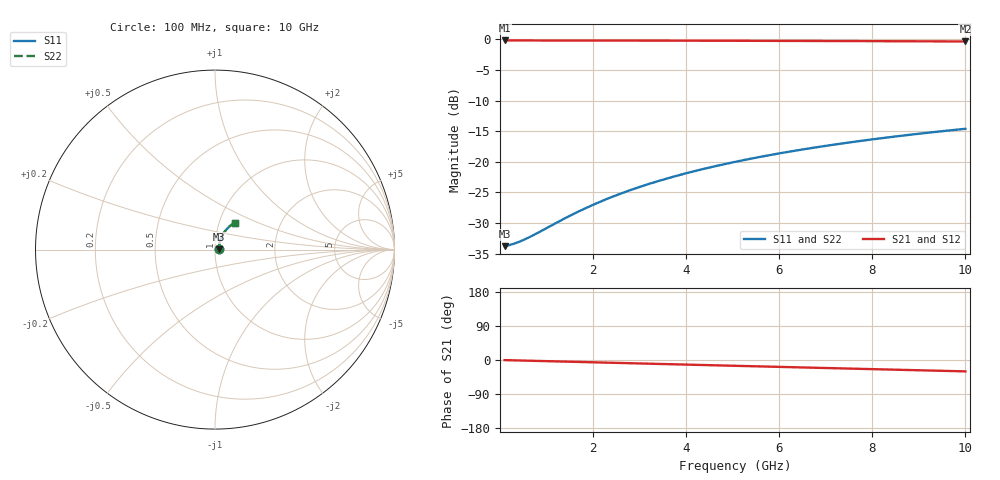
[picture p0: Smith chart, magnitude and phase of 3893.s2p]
# Hz S RI R 50.00
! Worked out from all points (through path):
!   100 points, 100 MHz to 10 GHz, reference 50 ohm
!   highest |S21| = -0.18 dB at 100 MHz (marker M1); lowest = -0.3 dB at 10 GHz (marker M2)
!   group delay of S21, straight-line fit = 8.35 ps
!   lowest |S11| = -33.8 dB at 100 MHz (marker M3), VSWR 1.04, Z = 52.1 + j0.193 ohm
!   |S11| at or under -10 dB: start of sweep to end of sweep
!   |S22| runs from -33.8 to -14.6 dB; largest |S21 - S12| = 0
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1e8  0.0204 0.00185  0.9796 -0.0052  0.9796 -0.0052  0.0204 0.00185
2e8  0.0205 0.00371  0.9795 -0.0104  0.9795 -0.0104  0.0205 0.00371
3e8  0.0207 0.00556  0.9793 -0.0156  0.9793 -0.0156  0.0207 0.00556
4e8  0.0208 0.0074  0.9791 -0.0208  0.9791 -0.0208  0.0208 0.0074
6e8  0.0211 0.0111  0.9786 -0.0311  0.9786 -0.0311  0.0211 0.0111
8e8  0.0215 0.0148  0.9781 -0.0415  0.9781 -0.0415  0.0215 0.0148
1.4e9  0.023 0.0258  0.9758 -0.0726  0.9758 -0.0726  0.023 0.0258
1.8e9  0.0244 0.033  0.9737 -0.0932  0.9737 -0.0932  0.0244 0.033
2.2e9  0.0261 0.0402  0.9711 -0.1137  0.9711 -0.1137  0.0261 0.0402
2.6e9  0.028 0.0473  0.9681 -0.1342  0.9681 -0.1342  0.028 0.0473
3e9  0.0303 0.0544  0.9645 -0.1546  0.9645 -0.1546  0.0303 0.0544
3.4e9  0.0329 0.0613  0.9605 -0.1748  0.9605 -0.1748  0.0329 0.0613
3.8e9  0.0357 0.0681  0.956 -0.1949  0.956 -0.1949  0.0357 0.0681
4.2e9  0.0388 0.0747  0.9511 -0.2149  0.9511 -0.2149  0.0388 0.0747
4.6e9  0.0422 0.0812  0.9457 -0.2347  0.9457 -0.2347  0.0422 0.0812
5.1e9  0.0468 0.0891  0.9383 -0.2592  0.9383 -0.2592  0.0468 0.0891
5.9e9  0.055 0.1012  0.9251 -0.2979  0.9251 -0.2979  0.055 0.1012
6.7e9  0.0642 0.1125  0.9102 -0.3357  0.9102 -0.3357  0.0642 0.1125
7.5e9  0.0743 0.123  0.8936 -0.3726  0.8936 -0.3726  0.0743 0.123
8.4e9  0.0865 0.1337  0.8731 -0.4129  0.8731 -0.4129  0.0865 0.1337
9.2e9  0.0982 0.1421  0.8533 -0.4475  0.8533 -0.4475  0.0982 0.1421
1e10  0.1105 0.1495  0.8321 -0.4811  0.8321 -0.4811  0.1105 0.1495
